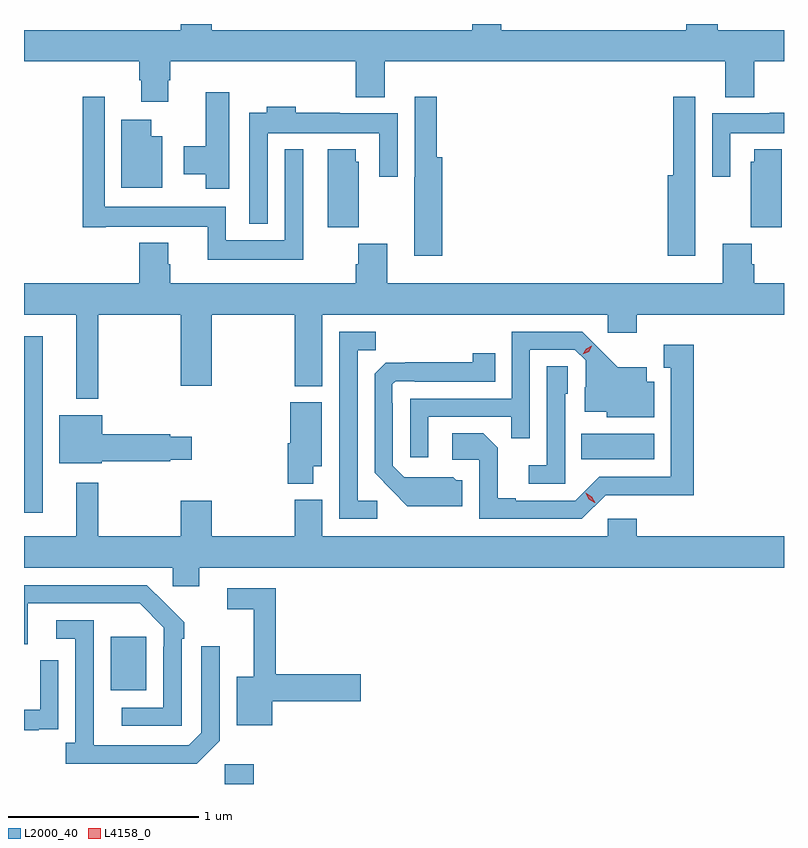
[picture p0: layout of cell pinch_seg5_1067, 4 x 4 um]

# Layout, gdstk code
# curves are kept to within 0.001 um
import gdstk
lib = gdstk.Library(unit=1e-6, precision=1e-09)
def R(c, l, rs):  # rectangles x0, y0, x1, y1
    for r in rs: c.add(gdstk.rectangle(r[:2], r[2:], *l))
def P(c, l, *ps):  # polygons
    for p in ps: c.add(gdstk.Polygon(p, *l))
L2000_40 = (2000, 40)
L4158_0 = (4158, 0)

pinch_seg5_1067 = lib.new_cell('pinch_seg5_1067')
R(pinch_seg5_1067, L2000_40, [(800.604,852.957,800.756,853.06), (800.003,853.451,800.191,853.732), (799.547,854.385,799.645,855.313), (802.48,854.666,802.864,854.8)])
P(pinch_seg5_1067, L2000_40, [(803.198,856.957),(803.033,856.957),(803.033,856.924),(802.058,856.924),(802.058,856.957),(801.905,856.957),(801.905,856.924),(800.536,856.924),(800.536,856.957),(800.372,856.957),(800.372,856.924),(799.547,856.924),(799.547,856.76),(800.153,856.76),(800.153,856.662),(800.165,856.662),(800.165,856.548),(800.305,856.548),(800.305,856.662),(800.318,856.662),(800.318,856.76),(801.293,856.76),(801.293,856.571),(801.445,856.571),(801.445,856.76),(803.237,856.76),(803.237,856.571),(803.39,856.571),(803.39,856.76),(803.547,856.76),(803.547,856.924),(803.198,856.924)],
  [(800.626,856.597),(800.504,856.597),(800.504,856.314),(800.387,856.314),(800.387,856.166),(800.504,856.166),(800.504,856.089),(800.626,856.089)],
  [(803.08,856.058),(803.079,856.058),(803.079,856.573),(802.963,856.573),(802.963,856.162),(802.934,856.162),(802.934,855.738),(803.08,855.738)],
  [(801.016,856.297),(800.919,856.297),(800.919,855.82),(800.61,855.82),(800.61,855.994),(799.971,855.994),(799.971,856.573),(799.855,856.573),(799.855,855.888),(799.978,855.888),(799.978,855.89),(800.513,855.89),(800.513,855.716),(801.016,855.716)],
  [(801.749,856.255),(801.719,856.255),(801.719,856.573),(801.603,856.573),(801.603,856.151),(801.602,856.151),(801.602,855.738),(801.749,855.738)],
  [(800.829,856.382),(801.417,856.382),(801.417,856.152),(801.513,856.152),(801.513,856.486),(801.209,856.486),(801.209,856.489),(800.978,856.489),(800.978,856.522),(800.825,856.522),(800.825,856.489),(800.733,856.489),(800.733,855.905),(800.829,855.905)],
  [(803.265,856.382),(803.547,856.382),(803.547,856.489),(803.473,856.489),(803.473,856.486),(803.169,856.486),(803.169,856.152),(803.265,856.152)],
  [(800.275,856.366),(800.218,856.366),(800.218,856.453),(800.06,856.453),(800.06,856.094),(800.275,856.094)],
  [(801.31,856.233),(801.292,856.233),(801.292,856.297),(801.146,856.297),(801.146,855.886),(801.31,855.886)],
  [(803.536,856.297),(803.39,856.297),(803.39,856.233),(803.372,856.233),(803.372,855.886),(803.536,855.886)],
  [(799.937,855.428),(800.372,855.428),(800.372,855.054),(800.536,855.054),(800.536,855.428),(800.971,855.428),(800.971,855.05),(801.118,855.05),(801.118,855.428),(802.62,855.428),(802.62,855.333),(802.772,855.333),(802.772,855.428),(803.547,855.428),(803.547,855.592),(803.39,855.592),(803.39,855.692),(803.377,855.692),(803.377,855.801),(803.225,855.801),(803.225,855.592),(801.458,855.592),(801.458,855.801),(801.305,855.801),(801.305,855.692),(801.293,855.692),(801.293,855.592),(800.318,855.592),(800.318,855.693),(800.305,855.693),(800.305,855.805),(800.153,855.805),(800.153,855.592),(799.547,855.592),(799.547,855.428),(799.823,855.428),(799.823,854.984),(799.937,854.984)],
  [(801.675,854.889),(802.111,854.889),(802.111,854.776),(802.209,854.776),(802.209,855.243),(802.446,855.243),(802.503,855.186),(802.503,855.044),(802.499,855.044),(802.499,854.915),(802.614,854.915),(802.614,854.888),(802.864,854.888),(802.864,855.073),(802.825,855.073),(802.825,855.151),(802.673,855.151),(802.486,855.336),(802.113,855.336),(802.113,854.985),(801.579,854.985),(801.579,854.676),(801.675,854.676)],
  [(801.406,854.448),(801.303,854.448),(801.303,855.241),(801.399,855.241),(801.399,855.336),(801.207,855.336),(801.207,854.352),(801.406,854.352)],
  [(802.608,854.478),(803.071,854.477),(803.071,855.268),(802.913,855.268),(802.913,855.147),(802.952,855.147),(802.952,854.574),(802.575,854.574),(802.449,854.448),(802.135,854.448),(802.135,854.461),(802.041,854.461),(802.041,854.728),(801.965,854.804),(801.801,854.804),(801.801,854.664),(801.942,854.664),(801.942,854.352),(802.482,854.352)],
  [(801.853,854.556),(801.822,854.556),(801.806,854.572),(801.549,854.571),(801.489,854.631),(801.489,854.96),(801.486,854.96),(801.486,855.06),(801.504,855.078),(801.604,855.078),(801.604,855.075),(802.028,855.075),(802.028,855.223),(801.91,855.223),(801.91,855.176),(801.452,855.175),(801.393,855.116),(801.393,854.594),(801.565,854.42),(801.853,854.42)],
  [(802.395,855.012),(802.41,855.012),(802.41,855.155),(802.299,855.155),(802.299,854.635),(802.203,854.635),(802.203,854.538),(802.395,854.538)],
  [(801.07,854.63),(801.115,854.63),(801.115,854.965),(800.948,854.965),(800.948,854.751),(800.936,854.751),(800.936,854.537),(801.07,854.537)],
  [(799.956,854.656),(800.318,854.656),(800.318,854.663),(800.431,854.663),(800.431,854.785),(800.318,854.785),(800.318,854.798),(799.96,854.798),(799.96,854.899),(799.733,854.899),(799.733,854.645),(799.956,854.645)],
  [(800.47,854.096),(803.547,854.096),(803.547,854.26),(802.772,854.26),(802.772,854.353),(802.62,854.353),(802.62,854.26),(801.118,854.26),(801.118,854.452),(800.971,854.452),(800.971,854.26),(800.536,854.26),(800.536,854.449),(800.372,854.449),(800.372,854.26),(799.937,854.26),(799.937,854.542),(799.823,854.542),(799.823,854.26),(799.547,854.26),(799.547,854.096),(800.331,854.096),(800.331,853.998),(800.47,853.998)],
  [(800.376,853.721),(800.391,853.721),(800.391,853.809),(800.194,854.004),(799.547,854.004),(799.547,853.692),(799.567,853.692),(799.567,853.908),(800.155,853.908),(800.283,853.779),(800.283,853.679),(800.28,853.679),(800.28,853.359),(800.061,853.359),(800.061,853.263),(800.376,853.263)],
  [(800.854,853.393),(801.319,853.393),(801.319,853.535),(800.873,853.535),(800.873,853.986),(800.616,853.986),(800.616,853.878),(800.756,853.878),(800.756,853.522),(800.666,853.522),(800.666,853.265),(800.854,853.265)],
  [(800.577,853.185),(800.577,853.681),(800.481,853.681),(800.481,853.227),(800.415,853.161),(799.914,853.161),(799.914,853.818),(799.716,853.818),(799.716,853.722),(799.818,853.722),(799.818,853.174),(799.767,853.174),(799.767,853.064),(800.456,853.064)],
  [(799.625,853.245),(799.727,853.245),(799.727,853.354),(799.728,853.354),(799.728,853.609),(799.632,853.609),(799.632,853.347),(799.547,853.347),(799.547,853.239),(799.625,853.239)])
P(pinch_seg5_1067, L4158_0, [(802.552,854.437),(802.52,854.456),(802.503,854.488),(802.503,854.489),(802.503,854.489),(802.535,854.47),(802.553,854.437),(802.553,854.437)],
  [(802.488,855.218),(802.488,855.218),(802.505,855.247),(802.535,855.263),(802.536,855.263),(802.536,855.262),(802.519,855.233),(802.488,855.218)])

lib.write_gds('pinch_seg5_1067.gds')
